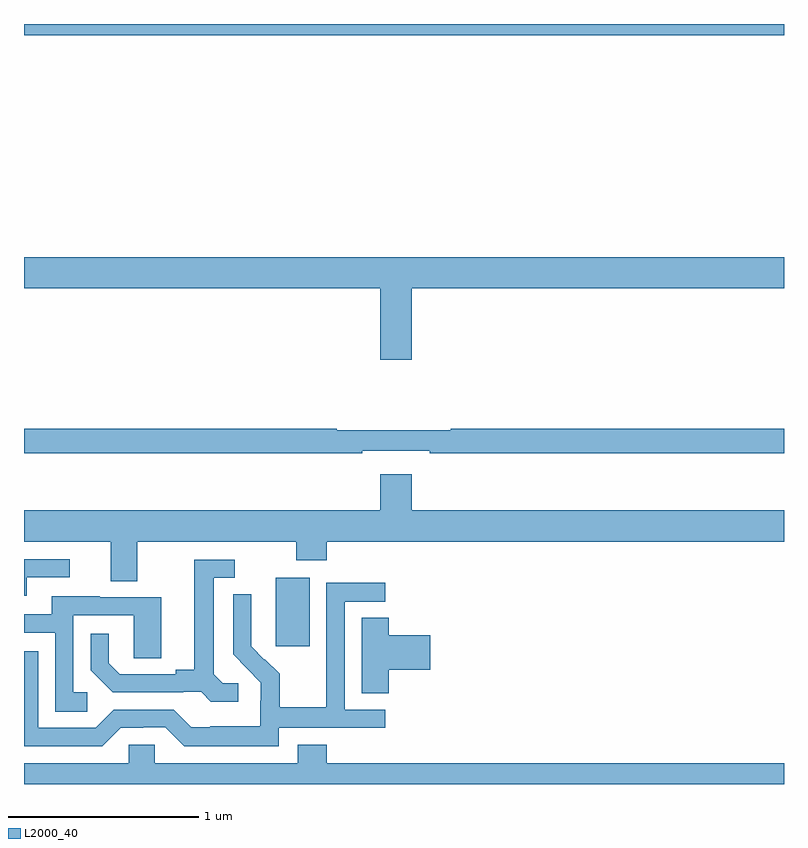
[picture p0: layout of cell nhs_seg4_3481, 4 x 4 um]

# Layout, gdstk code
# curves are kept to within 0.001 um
import gdstk
lib = gdstk.Library(unit=1e-6, precision=1e-09)
def R(c, l, rs):  # rectangles x0, y0, x1, y1
    for r in rs: c.add(gdstk.rectangle(r[:2], r[2:], *l))
def P(c, l, *ps):  # polygons
    for p in ps: c.add(gdstk.Polygon(p, *l))
L2000_40 = (2000, 40)

nhs_seg4_3481 = lib.new_cell('nhs_seg4_3481')
R(nhs_seg4_3481, L2000_40, [(296.324,773.625,296.503,773.986), (295,776.84,299,776.9)])
P(nhs_seg4_3481, L2000_40, [(297.04,775.508),(299,775.508),(299,775.672),(295,775.672),(295,775.508),(296.876,775.508),(296.876,775.134),(297.04,775.134)],
  [(296.78,774.654),(297.136,774.654),(297.136,774.642),(299,774.642),(299,774.77),(297.245,774.77),(297.245,774.763),(296.645,774.763),(296.645,774.77),(295,774.77),(295,774.642),(296.78,774.642)],
  [(295.597,774.176),(296.434,774.176),(296.434,774.077),(296.594,774.077),(296.594,774.176),(299,774.176),(299,774.34),(297.04,774.34),(297.04,774.529),(296.876,774.529),(296.876,774.34),(295,774.34),(295,774.176),(295.457,774.176),(295.457,773.968),(295.597,773.968)],
  [(295.015,773.988),(295.24,773.988),(295.24,774.084),(295,774.084),(295,773.892),(295.015,773.892)],
  [(296.128,773.43),(296.046,773.43),(295.999,773.477),(295.999,773.985),(296.11,773.985),(296.11,774.081),(295.895,774.081),(295.895,773.501),(295.799,773.501),(295.799,773.478),(295.504,773.478),(295.447,773.535),(295.447,773.692),(295.35,773.692),(295.35,773.498),(295.466,773.382),(295.838,773.382),(295.838,773.385),(295.932,773.385),(295.984,773.333),(296.128,773.333)],
  [(296.34,773.196),(296.902,773.196),(296.902,773.292),(296.688,773.292),(296.688,773.859),(296.902,773.859),(296.902,773.958),(296.592,773.958),(296.592,773.528),(296.59,773.528),(296.59,773.305),(296.345,773.305),(296.345,773.479),(296.268,773.556),(296.265,773.553),(296.195,773.624),(296.196,773.9),(296.1,773.9),(296.1,773.582),(296.246,773.434),(296.246,773.337),(296.244,773.337),(296.244,773.203),(295.981,773.203),(295.981,773.199),(295.881,773.199),(295.788,773.292),(295.473,773.292),(295.377,773.196),(295.074,773.196),(295.074,773.598),(295,773.598),(295,773.1),(295.413,773.1),(295.509,773.196),(295.628,773.196),(295.628,773.199),(295.743,773.199),(295.843,773.099),(296.34,773.099)],
  [(295.333,773.382),(295.26,773.382),(295.26,773.787),(295.578,773.787),(295.578,773.563),(295.723,773.563),(295.723,773.883),(295.399,773.883),(295.399,773.887),(295.145,773.887),(295.145,773.793),(295,773.793),(295,773.697),(295.164,773.697),(295.164,773.281),(295.333,773.281)],
  [(296.921,773.501),(297.139,773.501),(297.139,773.684),(296.921,773.684),(296.921,773.774),(296.777,773.774),(296.777,773.377),(296.921,773.377)],
  [(299,773.008),(296.594,773.008),(296.594,773.107),(296.441,773.107),(296.441,773.008),(295.689,773.008),(295.689,773.106),(295.551,773.106),(295.551,773.008),(295,773.008),(295,772.9),(299,772.9)])

lib.write_gds('nhs_seg4_3481.gds')
